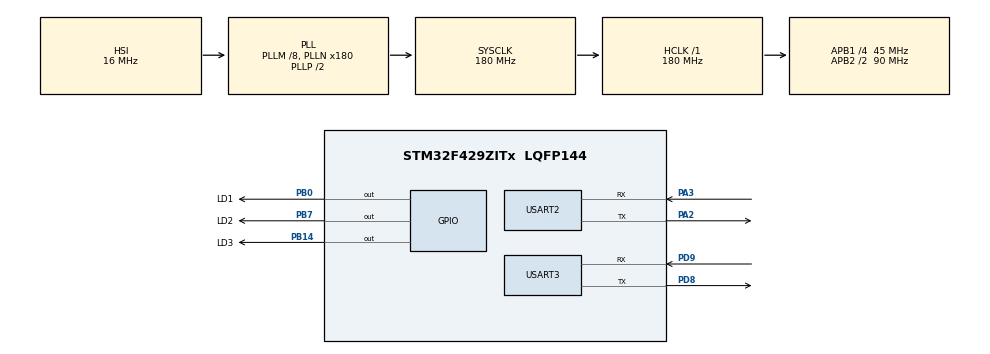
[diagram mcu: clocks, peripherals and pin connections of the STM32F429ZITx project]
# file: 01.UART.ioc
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Dma.Request0=USART2_RX
Dma.Request1=USART2_TX
Dma.USART2_RX.0.Direction=DMA_PERIPH_TO_MEMORY
Dma.USART2_RX.0.FIFOMode=DMA_FIFOMODE_DISABLE
Dma.USART2_RX.0.Instance=DMA1_Stream5
Dma.USART2_RX.0.MemDataAlignment=DMA_MDATAALIGN_BYTE
Dma.USART2_RX.0.MemInc=DMA_MINC_ENABLE
Dma.USART2_RX.0.Mode=DMA_CIRCULAR
Dma.USART2_RX.0.PeriphDataAlignment=DMA_PDATAALIGN_BYTE
Dma.USART2_RX.0.PeriphInc=DMA_PINC_DISABLE
Dma.USART2_RX.0.Priority=DMA_PRIORITY_LOW
Dma.USART2_TX.1.Direction=DMA_MEMORY_TO_PERIPH
Dma.USART2_TX.1.FIFOMode=DMA_FIFOMODE_DISABLE
Dma.USART2_TX.1.Instance=DMA1_Stream6
Dma.USART2_TX.1.MemDataAlignment=DMA_MDATAALIGN_BYTE
Dma.USART2_TX.1.MemInc=DMA_MINC_ENABLE
Dma.USART2_TX.1.Mode=DMA_CIRCULAR
Dma.USART2_TX.1.PeriphDataAlignment=DMA_PDATAALIGN_BYTE
Dma.USART2_TX.1.PeriphInc=DMA_PINC_DISABLE
Dma.USART2_TX.1.Priority=DMA_PRIORITY_LOW
Mcu.Family=STM32F4
Mcu.Name=STM32F429ZITx
Mcu.Package=LQFP144
NVIC.DMA1_Stream5_IRQn=true\:0\:0\:false\:false\:true\:false\:true\:true
NVIC.DMA1_Stream6_IRQn=true\:0\:0\:false\:false\:true\:false\:true\:true
NVIC.PriorityGroup=NVIC_PRIORITYGROUP_4
NVIC.USART2_IRQn=true\:0\:0\:false\:false\:true\:true\:true\:true
PA2.Mode=Asynchronous
PA2.Signal=USART2_TX
PA3.Mode=Asynchronous
PA3.Signal=USART2_RX
PB0.GPIO_Label=LD1
PB0.Signal=GPIO_Output
PB14.GPIO_Label=LD3
PB14.Signal=GPIO_Output
PB7.GPIO_Label=LD2
PB7.Signal=GPIO_Output
PC14/OSC32_IN.Mode=LSE-External-Oscillator
PC14/OSC32_IN.Signal=RCC_OSC32_IN
PC15/OSC32_OUT.Mode=LSE-External-Oscillator
PC15/OSC32_OUT.Signal=RCC_OSC32_OUT
PD8.Mode=Asynchronous
PD8.Signal=USART3_TX
PD9.Mode=Asynchronous
PD9.Signal=USART3_RX
PH0/OSC_IN.Mode=HSE-External-Clock-Source
PH0/OSC_IN.Signal=RCC_OSC_IN
PH1/OSC_OUT.Mode=HSE-External-Clock-Source
PH1/OSC_OUT.Signal=RCC_OSC_OUT
ProjectManager.HeapSize=0x200
ProjectManager.StackSize=0x400
ProjectManager.TargetToolchain=STM32CubeIDE
RCC.48MHZClocksFreq_Value=90000000
RCC.AHBFreq_Value=180000000
RCC.APB1CLKDivider=RCC_HCLK_DIV4
RCC.APB1Freq_Value=45000000
RCC.APB1TimFreq_Value=90000000
RCC.APB2CLKDivider=RCC_HCLK_DIV2
RCC.APB2Freq_Value=90000000
RCC.APB2TimFreq_Value=180000000
RCC.CortexFreq_Value=180000000
RCC.HCLKFreq_Value=180000000
RCC.HSE_VALUE=25000000
RCC.HSI_VALUE=16000000
RCC.PLLM=8
RCC.PLLN=180
RCC.SYSCLKFreq_VALUE=180000000
RCC.SYSCLKSource=RCC_SYSCLKSOURCE_PLLCLK
RCC.VCOOutputFreq_Value=360000000
USART2.VirtualMode=VM_ASYNC
USART3.VirtualMode=VM_ASYNC
board=custom

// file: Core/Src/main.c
/* USER CODE BEGIN Header */
/**
  ******************************************************************************
  * @file           : main.c
  * @brief          : Main program body
  ******************************************************************************
  * @attention
  *
  * Copyright (c) 2024 STMicroelectronics.
  * All rights reserved.
  *
  * This software is licensed under terms that can be found in the LICENSE file
  * in the root directory of this software component.
  * If no LICENSE file comes with this software, it is provided AS-IS.
  *
  ******************************************************************************
  */
/* USER CODE END Header */
#include "main.h"
#include "dma.h"
#include "usart.h"
#include "gpio.h"

/* USER CODE BEGIN Includes */
#include <stdio.h>
#include <string.h>
/* USER CODE END Includes */

/* USER CODE BEGIN PV */
int count = 0;

uint8_t TxData[32];

char tempBuffer[64] ={};
uint8_t RxData[20];
uint8_t RxDMAData[20];
uint8_t RxTemp[2];
int RxIndx = 0;

uint8_t RxDMALarge[4096];

int isNumber = 1;

int counthalf_DMA = 0;
int countfull_DMA = 0;

uint8_t RxDataFlash[256];
uint8_t flashBuffer[4096];
int HTC=0;
int FTC=0;
uint32_t flashIndx=0;
int isSizeRxed = 0;
uint32_t size = 0;

/* USER CODE END PV */

void SystemClock_Config(void);

/* USER CODE BEGIN 0 */
int _write(int file, char *ptr, int len)
{
	HAL_UART_Transmit(&huart3, (uint8_t*)ptr, len, 10);
	for(uint32_t i=0; i<len; i++)
	{
		ITM_SendChar((*ptr++));
	}
	return len;
}
//void HAL_UART_RxCpltCallback(UART_HandleTypeDef *huart)
//{
//	memcpy(RxData+RxIndx, RxTemp, 1);
//	if(++RxIndx >= 20){RxIndx = 0;}
//	HAL_UART_Receive_IT(&huart2, RxTemp, 1);
//
//}

// 1.DMA_Simple_Test
//void HAL_UART_RxHalfCpltCallback(UART_HandleTypeDef *huart)
//{
//	counthalf_DMA++;
//}
//void HAL_UART_RxCpltCallback(UART_HandleTypeDef *huart)
//{
//	countfull_DMA++;
//	HAL_UART_Receive_DMA(&huart2, RxDMAData, 10);
//}

//// 2. DMA_Large_Data_Receive
//void HAL_UART_RxCpltCallback(UART_HandleTypeDef *huart)
//{
//	if(isSizeRxed == 0)
//	{
//		// 4 byte data character (48 == '0') -> number
//		for(int i=0; i<4; i++)
//		{
//			if(RxDMALarge[i] >= '0' && RxDMALarge[i] <= '9')
//			{
//				isNumber = 1;
//			}
//			else
//			{
//				isNumber = 0;
//				break;
//			}
//		}
//
//		if(isNumber == 1)
//		{
//			size = ((RxDMALarge[0] - 48)*1000) + ((RxDMALarge[1] - 48)*100) + ((RxDMALarge[2] - 48)*10) + ((RxDMALarge[3] - 48));	// 4 Digit
//			printf("Prepare : %d byte\n\r", (int)size);
//			HAL_UART_Receive_DMA(&huart2, RxDMALarge, size);
//			isSizeRxed = 1;
//		}
//		else if(isNumber == 0)
//		{
//			isNumber = 1;
//			//memset(RxDMALarge, 0, 4);
//			memset(tempBuffer, 0, strlen(tempBuffer));
//			char txText[] = "Only write Number\n\r";
//			char uart2Target[] = "UART2: ";
//
//
//
//			int offset = 0;
//			int ret = snprintf(tempBuffer + offset, sizeof(tempBuffer)-offset, uart2Target);
//			//assert(ret == strlen(uart2Target));
//			offset += ret;
//
//			for(int j=0; j<strlen(txText);j++)
//			{
//				ret = snprintf(tempBuffer + offset, sizeof(tempBuffer)-offset, "%c", txText[j]);
//				offset += ret;
//			}
//			//ret = snprintf(tempBuffer + offset, sizeof(tempBuffer)-offset, "\n\r");
//			//assert(ret == 2);
//			printf(txText);
//			HAL_UART_Transmit_IT(&huart2, (uint8_t*)tempBuffer, strlen((char*)tempBuffer));
//			//memset(tempBuffer, 0, strlen(tempBuffer));
//			HAL_UART_Receive_DMA(&huart2, RxDMALarge, 4);
//		}
//
//
//	}
//	else if(isSizeRxed == 1)
//	{
//		isSizeRxed = 0;
//		printf("Received : %d byte\n\r", (int)size);
//		HAL_UART_Receive_DMA(&huart2, RxDMALarge, 4);
//	}
//}

void HAL_UART_RxHalfCpltCallback(UART_HandleTypeDef *huart)
{
	if(isSizeRxed == 0)
	{
		size = ((RxDataFlash[0] - 48)*1000) + ((RxDataFlash[1] - 48)*100) + ((RxDataFlash[2] - 48)*10) + ((RxDataFlash[3] - 48));
		printf("Start to Send File => %d byte\r\n", (int)size);
		flashIndx = 0;
		memcpy(flashBuffer+flashIndx, RxDataFlash + 4, 124);	// Receive 128( 4(size) + 124(First Data)) => flash <- 124 byte
		memset(RxDataFlash, '\0', 128);
		flashIndx += 128;
		isSizeRxed = 1;
	}
	else
	{
		memcpy(flashBuffer+flashIndx, RxDataFlash, 128);
		memset(RxDataFlash, '\0', 128);
		flashIndx +=128;
	}

	HTC=1;
	FTC=0;

}

void HAL_UART_RxCpltCallback(UART_HandleTypeDef *huart)
{

	memcpy(flashBuffer+flashIndx, RxDataFlash+128, 128);
	memset(RxDataFlash+128, '\0', 128);
	flashIndx += 128;
	HTC=0;
	FTC=1;
}

/* USER CODE END 0 */

int main(void)
{

  /* MCU Configuration--------------------------------------------------------*/

  /* Reset of all peripherals, Initializes the Flash interface and the Systick. */
  HAL_Init();

  /* Configure the system clock */
  SystemClock_Config();

  /* Initialize all configured peripherals */
  MX_GPIO_Init();
  MX_DMA_Init();
  MX_USART2_UART_Init();
  MX_USART3_UART_Init();
  /* USER CODE BEGIN 2 */

//  HAL_UART_Receive_DMA(&huart2, RxDMAData, 10);
//  HAL_UART_Receive_DMA(&huart2, RxDMALarge, 4);	// 4 byte -> length
  HAL_UART_Receive_DMA(&huart2, RxDataFlash, 256);
  /* USER CODE END 2 */

  /* Infinite loop */
  /* USER CODE BEGIN WHILE */
  while (1)
  {
	  // left Data Under 128
	  if( ((size-flashIndx)>0) && ((size-flashIndx)<128) )
	  {
		  if(HTC == 1)
		  {
			  memcpy(flashBuffer+flashIndx, RxDataFlash+128, (size-flashIndx));
			  //strcpy((char*)flashBuffer+flashIndx, (char*)RxDataFlash+128);
			  flashIndx = size;
			  isSizeRxed = 0;
			  HTC = 0;
			  HAL_UART_DMAStop(&huart2);
			  HAL_UART_Receive_DMA(&huart2, RxDataFlash, 256);

		  }
		  else if(FTC == 1)
		  {
			  memcpy(flashBuffer+flashIndx, RxDataFlash, (size-flashIndx));	// Existing Buffer with additional size
			  //strcpy((char*)flashBuffer+flashIndx, (char*)RxDataFlash);
			  flashIndx = size;
			  isSizeRxed = 0;
			  FTC = 0;
			  HAL_UART_DMAStop(&huart2);
			  HAL_UART_Receive_DMA(&huart2, RxDataFlash, 256);

		  }
		  printf("File Received in flash => %d byte\r\n", (int)flashIndx);
	  }
	  else if( (flashIndx == size) && ((HTC==1) || (FTC==1)) )
	  {

		  isSizeRxed = 0;
		  FTC = 0;
		  HTC = 0;
		  HAL_UART_DMAStop(&huart2);
		  HAL_UART_Receive_DMA(&huart2, RxDataFlash, 256);
		  printf("File Received in flash => %d byte\r\n", (int)flashIndx);
	  }

	  count++;
	  printf("VCP:[%d]\n\r", count);
	  sprintf((char*)TxData, "UART2: [%5d]\n\r", count);
	  HAL_UART_Transmit_IT(&huart2, TxData, sizeof(TxData));
	  HAL_GPIO_TogglePin(GPIOB, GPIO_PIN_14);
	  HAL_Delay(1000);
    /* USER CODE END WHILE */

  }
}

void SystemClock_Config(void)
{
  RCC_OscInitTypeDef RCC_OscInitStruct = {0};
  RCC_ClkInitTypeDef RCC_ClkInitStruct = {0};

  /** Configure the main internal regulator output voltage
  */
  __HAL_RCC_PWR_CLK_ENABLE();
  __HAL_PWR_VOLTAGESCALING_CONFIG(PWR_REGULATOR_VOLTAGE_SCALE1);

  /** Initializes the RCC Oscillators according to the specified parameters
  * in the RCC_OscInitTypeDef structure.
  */
  RCC_OscInitStruct.OscillatorType = RCC_OSCILLATORTYPE_HSI;
  RCC_OscInitStruct.HSIState = RCC_HSI_ON;
  RCC_OscInitStruct.HSICalibrationValue = RCC_HSICALIBRATION_DEFAULT;
  RCC_OscInitStruct.PLL.PLLState = RCC_PLL_ON;
  RCC_OscInitStruct.PLL.PLLSource = RCC_PLLSOURCE_HSI;
  RCC_OscInitStruct.PLL.PLLM = 8;
  RCC_OscInitStruct.PLL.PLLN = 180;
  RCC_OscInitStruct.PLL.PLLP = RCC_PLLP_DIV2;
  RCC_OscInitStruct.PLL.PLLQ = 4;
  if (HAL_RCC_OscConfig(&RCC_OscInitStruct) != HAL_OK)
  {
    Error_Handler();
  }

  /** Activate the Over-Drive mode
  */
  if (HAL_PWREx_EnableOverDrive() != HAL_OK)
  {
    Error_Handler();
  }

  /** Initializes the CPU, AHB and APB buses clocks
  */
  RCC_ClkInitStruct.ClockType = RCC_CLOCKTYPE_HCLK|RCC_CLOCKTYPE_SYSCLK
                              |RCC_CLOCKTYPE_PCLK1|RCC_CLOCKTYPE_PCLK2;
  RCC_ClkInitStruct.SYSCLKSource = RCC_SYSCLKSOURCE_PLLCLK;
  RCC_ClkInitStruct.AHBCLKDivider = RCC_SYSCLK_DIV1;
  RCC_ClkInitStruct.APB1CLKDivider = RCC_HCLK_DIV4;
  RCC_ClkInitStruct.APB2CLKDivider = RCC_HCLK_DIV2;

  if (HAL_RCC_ClockConfig(&RCC_ClkInitStruct, FLASH_LATENCY_5) != HAL_OK)
  {
    Error_Handler();
  }
}

void Error_Handler(void)
{
  __disable_irq();
  while (1)
  {
  }
}
